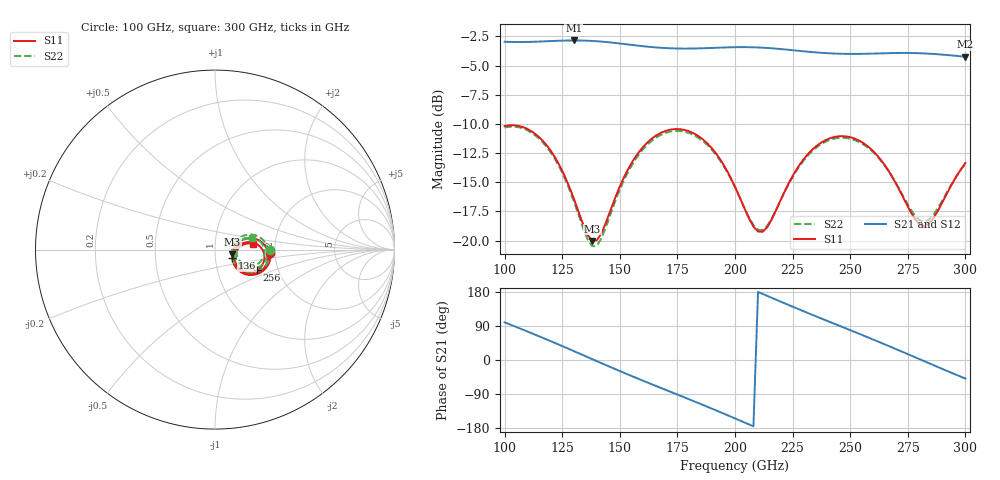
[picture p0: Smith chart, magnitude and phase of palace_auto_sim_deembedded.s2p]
! Created with skrf 1.11.0 (http://scikit-rf.org).
# GHz S DB R 50.0
!freq dBS11 angS11 dBS21 angS21 dBS12 angS12 dBS22 angS22
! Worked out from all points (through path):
!   101 points, 100 GHz to 300 GHz, reference 50 ohm
!   highest |S21| = -2.85 dB at 130 GHz (marker M1); lowest = -4.2 dB at 300 GHz (marker M2)
!   group delay of S21, straight-line fit = 7.06 ps
!   lowest |S11| = -20.0 dB at 138 GHz (marker M3), VSWR 1.22, Z = 60.5 - j3.23 ohm
!   |S11| at or under -10 dB: start of sweep to end of sweep
!   |S22| runs from -20.5 to -10.2 dB; largest |S21 - S12| = 7.8e-14
!   S11 on the Smith chart (normalised r, x): 100 GHz: 1.89, -0.08; 136 GHz: 1.21, -0.11; 256 GHz: 1.55, -0.39; 300 GHz: 1.54, +0.10
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100  -10.19 -3.7  -2.96 99.5  -2.96 99.5  -10.30 -0.5
114  -10.97 -27.1  -2.96 64.9  -2.96 64.9  -11.09 -23.6
122  -12.91 -38.0  -2.89 44.5  -2.89 44.5  -13.05 -34.4
130  -16.38 -40.4  -2.85 23.6  -2.85 23.6  -16.60 -36.9
134  -18.56 -32.9  -2.86 13.0  -2.86 13.0  -18.88 -29.3
136  -19.49 -25.3  -2.88 7.7  -2.88 7.7  -19.88 -21.4
138  -20.02 -15.4  -2.90 2.4  -2.90 2.4  -20.47 -11.0
142  -19.38 5.0  -2.95 -8.2  -2.95 -8.2  -19.82 10.7
154  -13.72 18.0  -3.21 -39.4  -3.21 -39.4  -13.95 24.6
168  -10.75 -0.1  -3.48 -74.2  -3.48 -74.2  -10.92 6.9
184  -11.03 -25.3  -3.53 -113.4  -3.53 -113.4  -11.17 -17.6
200  -15.38 -40.2  -3.43 -154.1  -3.43 -154.1  -15.42 -31.5
208  -18.79 -25.8  -3.44 -175.1  -3.44 -175.1  -18.67 -17.3
212  -19.24 -9.3  -3.47 174.4  -3.47 174.4  -19.08 -1.5
222  -15.60 13.1  -3.63 148.4  -3.63 148.4  -15.65 20.5
234  -12.11 4.9  -3.86 118.1  -3.86 118.1  -12.24 13.1
244  -11.09 -9.1  -3.98 93.5  -3.98 93.5  -11.22 -0.1
256  -11.68 -26.4  -4.00 63.9  -4.00 63.9  -11.79 -16.6
268  -14.45 -37.6  -3.94 33.6  -3.94 33.6  -14.46 -26.8
282  -18.75 -13.5  -3.96 -2.8  -3.96 -2.8  -18.37 -3.9
290  -16.72 7.9  -4.07 -23.6  -4.07 -23.6  -16.55 15.9
300  -13.35 8.5  -4.25 -49.0  -4.25 -49.0  -13.40 16.9
